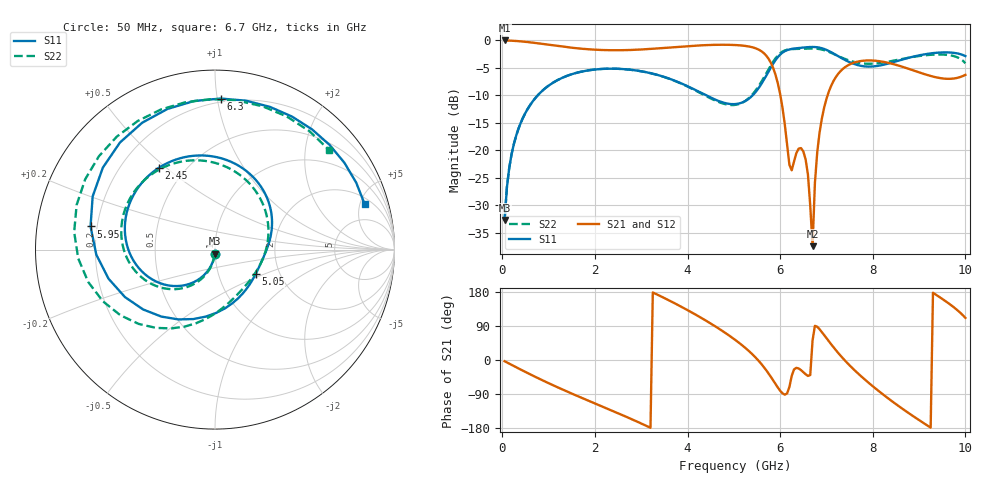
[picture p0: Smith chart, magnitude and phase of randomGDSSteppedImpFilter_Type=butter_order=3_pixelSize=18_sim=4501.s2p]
! freq	dB(S11)	phase(S11)	dB(S12)	phase(S12)
!  dB(S21)	phase(S21)	dB(S22)	phase(S22)
!S-par simulation data
#  GHz  S  DB  R 50
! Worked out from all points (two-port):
!   200 points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, 50 MHz to 10 GHz, reference 50 ohm
!   highest |S21| = -0.01 dB at 50 MHz (marker M1); lowest = -37.4 dB at 6.7 GHz (marker M2)
!   |S21| within 3 dB of the highest: start of sweep to 5.721 GHz
!   lowest |S11| = -32.7 dB at 50 MHz (marker M3), VSWR 1.05, Z = 49.8 - j2.32 ohm
!   |S11| at or under -10 dB: start of sweep to 764.6 MHz; 4.402 GHz to 5.404 GHz (1.002 GHz wide, 20.4 % of centre)
!   |S22| runs from -32.6 to -1.5 dB; largest |S21 - S12| = 0
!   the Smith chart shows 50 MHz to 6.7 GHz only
!   S11 on the Smith chart (normalised r, x): 50 MHz: 1.00, -0.05; 2.45 GHz: 0.36, +0.47; 5.05 GHz: 1.51, -0.44; 5.95 GHz: 0.17, +0.09; 6.3 GHz: 0.18, +1.02; 6.7 GHz: 2.64, +5.54
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0.05  -32.65 -93.3  -0.01 -3.2  -0.01 -3.2  -32.65 -93.0
0.2  -20.72 -103.7  -0.06 -12.8  -0.06 -12.8  -20.71 -102.5
0.5  -13.17 -123.6  -0.26 -31.6  -0.26 -31.6  -13.17 -120.6
1.75  -5.61 162.7  -1.54 -101.7  -1.54 -101.7  -5.60 172.9
2.45  -5.15 124.7  -1.79 -137.9  -1.79 -137.9  -5.14 138.7
3.4  -6.39 71.4  -1.43 169.5  -1.43 169.5  -6.41 87.9
4.4  -9.99 12.6  -0.86 103.7  -0.86 103.7  -10.11 17.5
5.05  -11.56 -31.2  -0.85 51.2  -0.85 51.2  -11.69 -44.5
5.55  -8.48 -97.7  -1.74 -4.1  -1.74 -4.1  -8.13 -98.1
5.75  -5.66 -140.2  -3.34 -35.6  -3.34 -35.6  -5.25 -127.0
5.95  -3.03 169.4  -7.81 -72.6  -7.81 -72.6  -2.75 -165.6
6.2  -1.65 108.6  -22.64 -70.9  -22.64 -70.9  -1.62 141.2
6.3  -1.49 87.9  -21.99 -24.8  -21.99 -24.8  -1.56 121.0
6.55  -1.26 42.4  -21.62 -37.6  -21.62 -37.6  -1.50 71.7
6.7  -1.19 16.8  -37.40 51.7  -37.40 51.7  -1.47 41.2
6.8  -1.25 -0.2  -20.40 87.7  -20.40 87.7  -1.52 20.5
7.1  -2.14 -50.0  -8.28 41.7  -8.28 41.7  -2.25 -38.9
7.75  -4.63 -145.7  -3.74 -43.2  -3.74 -43.2  -4.17 -123.5
8.35  -4.17 134.1  -4.11 -102.9  -4.11 -102.9  -3.84 -169.3
9  -2.72 66.8  -5.81 -158.6  -5.81 -158.6  -2.84 145.3
9.6  -2.18 20.7  -6.98 152.8  -6.98 152.8  -2.63 99.4
10  -2.86 -4.2  -6.26 111.1  -6.26 111.1  -4.15 56.6
